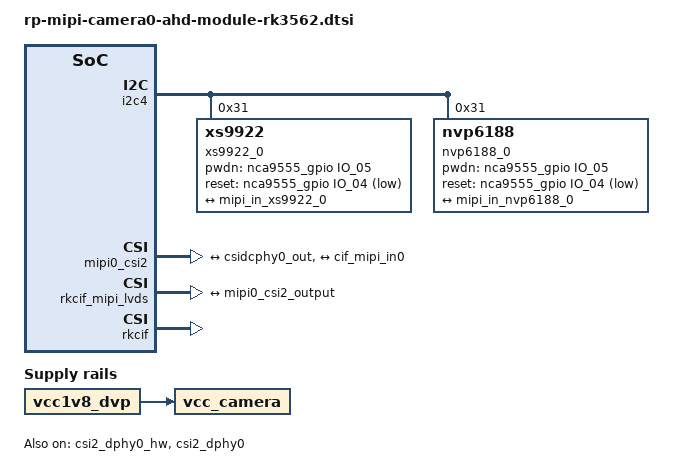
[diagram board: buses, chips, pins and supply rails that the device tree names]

/ {


        vcc_camera: vcc-camera-regulator {
                compatible = "regulator-fixed";
                regulator-name = "vcc_camera";
                enable-active-high;
                regulator-always-on;
                regulator-boot-on;
		vin-supply = <&vcc1v8_dvp>;
        };
};

&i2c4 {
        status = "okay";
	
        xs9922_0: xs9922_0@31 {
								compatible = "xs9922";
                status = "okay";
                reg = <0x31>;
                clocks = <&cru CLK_CAM0_OUT2IO>;
                clock-names = "xvclk";
                pinctrl-names = "default";
                pinctrl-0 = <&camm0_clk0_out>;
                pwdn-gpios = <&nca9555_gpio IO_05 GPIO_ACTIVE_HIGH>;
                reset-gpios = <&nca9555_gpio IO_04 GPIO_ACTIVE_LOW>;
                rockchip,camera-module-index = <0>;
                rockchip,camera-module-facing = "back";
                rockchip,camera-module-name = "default";
                rockchip,camera-module-lens-name = "default";
                rockchip,default_rect= <1920 1080>;
                port {
                        xs9922_out0: endpoint {
                                remote-endpoint = <&mipi_in_xs9922_0>;
                                data-lanes = <1 2 3 4>;
                        };
                };
        };
	
        nvp6188_0: nvp6188_0@31 {
								compatible = "nvp6188";
                status = "okay";
                reg = <0x31>;
                clocks = <&cru CLK_CAM0_OUT2IO>;
                clock-names = "xvclk";
                pinctrl-names = "default";
                pinctrl-0 = <&camm0_clk0_out>;
                pwdn-gpios = <&nca9555_gpio IO_05 GPIO_ACTIVE_HIGH>;
                reset-gpios = <&nca9555_gpio IO_04 GPIO_ACTIVE_LOW>;
                rockchip,camera-module-index = <0>;
                rockchip,camera-module-facing = "back";
                rockchip,camera-module-name = "default";
                rockchip,camera-module-lens-name = "default";
                rockchip,default_rect= <1920 1080>;
                port {
                        nvp6188_out0: endpoint {
                                remote-endpoint = <&mipi_in_nvp6188_0>;
                                data-lanes = <1 2 3 4>;
                        };
                };
        };
};


&csi2_dphy0_hw {
	status = "okay";
};

&csi2_dphy0 {
        status = "okay";

        ports {
                #address-cells = <1>;
                #size-cells = <0>;
                port@0 {
                        reg = <0>;
                        #address-cells = <1>;
                        #size-cells = <0>;

                        mipi_in_xs9922_0: endpoint@1 {
                                reg = <1>;
                                remote-endpoint = <&xs9922_out0>;
                                data-lanes = <1 2 3 4>;
                        };

                        mipi_in_nvp6188_0: endpoint@2 {
                                reg = <2>;
                                remote-endpoint = <&nvp6188_out0>;
                                data-lanes = <1 2 3 4>;
                        };
              };
                port@1 {
                        reg = <1>;
                        #address-cells = <1>;
                        #size-cells = <0>;

                        csidcphy0_out: endpoint@0 {
                                reg = <0>;
                                remote-endpoint = <&mipi0_csi2_input>;
                        };
                };
        };
};


&mipi0_csi2 {
	status = "okay";

	ports {
		#address-cells = <1>;
		#size-cells = <0>;

		port@0 {
			reg = <0>;
			#address-cells = <1>;
			#size-cells = <0>;

			mipi0_csi2_input: endpoint@1 {
				reg = <1>;
				remote-endpoint = <&csidcphy0_out>;
			};
		};

		port@1 {
			reg = <1>;
			#address-cells = <1>;
			#size-cells = <0>;

			mipi0_csi2_output: endpoint@0 {
				reg = <0>;
				remote-endpoint = <&cif_mipi_in0>;
			};
		};
	};
};

&rkcif_mipi_lvds {
	status = "okay";

	port {
		cif_mipi_in0: endpoint {
			remote-endpoint = <&mipi0_csi2_output>;
		};
	};
};

&rkcif {
        status = "okay";
};

&rkcif_mmu {
	status = "okay";
};

/*
&rkcif_mipi_lvds_sditf {
	status = "okay";

	port {
		mipi_lvds_sditf: endpoint {
			remote-endpoint = <&isp_vir0>;
		};
	};
};

&rkisp {
	status = "okay";
};

&rkisp_mmu {
	status = "okay";
};

&rkisp_vir0 {
	status = "okay";

	port {
		#address-cells = <1>;
		#size-cells = <0>;

		isp_vir0: endpoint@0 {
			reg = <0>;
			remote-endpoint = <&mipi_lvds_sditf>;
		};
	};
};
*/
